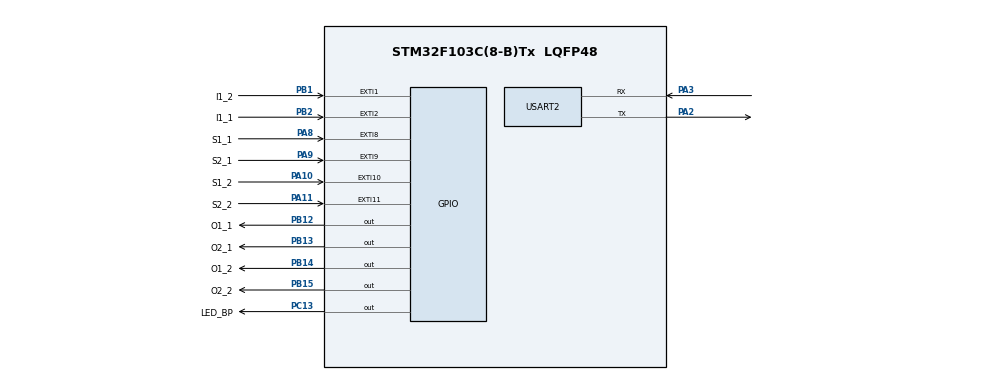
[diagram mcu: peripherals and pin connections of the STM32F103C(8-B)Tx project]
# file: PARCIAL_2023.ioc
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FREERTOS.Tasks01=defaultTask,24,128,StartDefaultTask,Default,NULL,Dynamic,NULL,NULL
FREERTOS.configTOTAL_HEAP_SIZE=8000
FREERTOS.configUSE_NEWLIB_REENTRANT=1
FREERTOS.configUSE_TICKLESS_IDLE=1
Mcu.Family=STM32F1
Mcu.Name=STM32F103C(8-B)Tx
Mcu.Package=LQFP48
NVIC.PriorityGroup=NVIC_PRIORITYGROUP_4
NVIC.TIM1_UP_IRQn=true\:15\:0\:false\:false\:true\:false\:false\:true\:true
NVIC.TimeBase=TIM1_UP_IRQn
NVIC.TimeBaseIP=TIM1
NVIC.USART2_IRQn=true\:5\:0\:false\:false\:true\:true\:true\:true\:true
PA10.GPIO_Label=S1_2
PA10.Signal=GPXTI10
PA11.GPIO_Label=S2_2
PA11.Signal=GPXTI11
PA13.Mode=Serial_Wire
PA13.Signal=SYS_JTMS-SWDIO
PA14.Mode=Serial_Wire
PA14.Signal=SYS_JTCK-SWCLK
PA2.Mode=Asynchronous
PA2.Signal=USART2_TX
PA3.Mode=Asynchronous
PA3.Signal=USART2_RX
PA8.GPIO_Label=S1_1
PA8.Signal=GPXTI8
PA9.GPIO_Label=S2_1
PA9.Signal=GPXTI9
PB1.GPIO_Label=I1_2
PB1.Signal=GPXTI1
PB12.GPIO_Label=O1_1
PB12.Signal=GPIO_Output
PB13.GPIO_Label=O2_1
PB13.Signal=GPIO_Output
PB14.GPIO_Label=O1_2
PB14.Signal=GPIO_Output
PB15.GPIO_Label=O2_2
PB15.Signal=GPIO_Output
PB2.GPIO_Label=I1_1
PB2.Signal=GPXTI2
PC13-TAMPER-RTC.GPIO_Label=LED_BP
PC13-TAMPER-RTC.Signal=GPIO_Output
PC14-OSC32_IN.Mode=LSE-External-Oscillator
PC14-OSC32_IN.Signal=RCC_OSC32_IN
PC15-OSC32_OUT.Mode=LSE-External-Oscillator
PC15-OSC32_OUT.Signal=RCC_OSC32_OUT
PD0-OSC_IN.Mode=HSE-External-Oscillator
PD0-OSC_IN.Signal=RCC_OSC_IN
PD1-OSC_OUT.Mode=HSE-External-Oscillator
PD1-OSC_OUT.Signal=RCC_OSC_OUT
ProjectManager.HeapSize=0x200
ProjectManager.StackSize=0x400
ProjectManager.TargetToolchain=STM32CubeIDE
RCC.APB1Freq_Value=8000000
RCC.APB2Freq_Value=8000000
USART2.VirtualMode=VM_ASYNC
VP_FREERTOS_VS_CMSIS_V2.Mode=CMSIS_V2
VP_SYS_VS_tim1.Mode=TIM1
board=custom

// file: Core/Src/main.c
/* USER CODE BEGIN Header */
/**
  ******************************************************************************
  * @file           : main.c
  * @brief          : Main program body
  ******************************************************************************
  * @attention
  *
  * Copyright (c) 2025 STMicroelectronics.
  * All rights reserved.
  *
  * This software is licensed under terms that can be found in the LICENSE file
  * in the root directory of this software component.
  * If no LICENSE file comes with this software, it is provided AS-IS.
  *
  ******************************************************************************
  */
/* USER CODE END Header */
#include "main.h"
#include "cmsis_os.h"

/* USER CODE BEGIN Includes */
#include "FreeRTOS.h"
#include "task.h"
#include "semphr.h"
#include "queue.h"
/* USER CODE END Includes */

/* USER CODE BEGIN PTD */

typedef struct{
	uint8_t id;
	uint32_t Y;
	GPIO_TypeDef *S1_port;
	GPIO_TypeDef *S2_port;
	GPIO_TypeDef *O1_port;
	GPIO_TypeDef *O2_port;
	GPIO_TypeDef *Pul_port;
	uint16_t S1_pin;
	uint16_t S2_pin;
	uint16_t O1_pin;
	uint16_t O2_pin;
	uint16_t Pul_pin;
	xSemaphoreHandle semaf1;
	xSemaphoreHandle semaf2;
	xSemaphoreHandle semaf_pul;
} TASK_DATA_T;

/* USER CODE END PTD */

/* USER CODE BEGIN PD */
#define QUEUE_LEN (5)
/* USER CODE END PD */

UART_HandleTypeDef huart2;

/* Definitions for defaultTask */
osThreadId_t defaultTaskHandle;
const osThreadAttr_t defaultTask_attributes = {
  .name = "defaultTask",
  .stack_size = 128 * 4,
  .priority = (osPriority_t) osPriorityNormal,
};
/* USER CODE BEGIN PV */
static uint8_t dato_cola;
static QueueHandle_t queue_uart;
static TASK_DATA_T tanque1, tanque2;
/* USER CODE END PV */

void SystemClock_Config(void);
static void MX_GPIO_Init(void);
static void MX_USART2_UART_Init(void);
void StartDefaultTask(void *argument);

/* USER CODE BEGIN PFP */

static void initTaskData (void)
{
		tanque1.id = 0;
		tanque1.Y = 10000;
		tanque1.S1_port= S1_1_GPIO_Port;
		tanque1.S2_port= S2_1_GPIO_Port;
		tanque1.O1_port= O1_1_GPIO_Port;
		tanque1.O2_port= O2_1_GPIO_Port;
		tanque1.Pul_port= I1_1_GPIO_Port;
		tanque1.S1_pin= S1_1_Pin;
		tanque1.S2_pin= S2_1_Pin;
		tanque1.O1_pin= O1_1_Pin;
		tanque1.O2_pin= O2_1_Pin;
		tanque1.Pul_pin= I1_1_Pin;
		tanque1.semaf1= xSemaphoreCreateBinary();
		tanque1.semaf2= xSemaphoreCreateBinary();
		tanque1.semaf_pul= xSemaphoreCreateBinary();

		tanque2.id = 1;
		tanque2.Y = 10000;
		tanque2.S1_port= S1_2_GPIO_Port;
		tanque2.S2_port= S2_2_GPIO_Port;
		tanque2.O1_port= O1_2_GPIO_Port;
		tanque2.O2_port= O2_2_GPIO_Port;
		tanque2.Pul_port= I1_2_GPIO_Port;
		tanque2.S1_pin= S1_2_Pin;
		tanque2.S2_pin= S2_2_Pin;
		tanque2.O1_pin= O1_2_Pin;
		tanque2.O2_pin= O2_2_Pin;
		tanque2.Pul_pin= I1_2_Pin;
		tanque2.semaf1= xSemaphoreCreateBinary();
		tanque2.semaf2= xSemaphoreCreateBinary();
		tanque2.semaf_pul= xSemaphoreCreateBinary();

		HAL_GPIO_WritePin(O1_1_GPIO_Port, O1_1_Pin, GPIO_PIN_RESET);
		HAL_GPIO_WritePin(O2_1_GPIO_Port, O2_1_Pin, GPIO_PIN_RESET);
		HAL_GPIO_WritePin(O1_2_GPIO_Port, O1_2_Pin, GPIO_PIN_RESET);
		HAL_GPIO_WritePin(O2_2_GPIO_Port, O2_2_Pin, GPIO_PIN_RESET);
}

void task_tanque (void *a)
{
	TASK_DATA_T *parametros;
	parametros = (TASK_DATA_T*) a;

	uint8_t item;

	xSemaphoreTake(parametros->semaf2,portMAX_DELAY);

		HAL_GPIO_WritePin(parametros->O2_port, parametros->O2_pin, GPIO_PIN_RESET);
		HAL_GPIO_WritePin(parametros->O1_port, parametros->O1_pin, GPIO_PIN_SET);

		if(xSemaphoreTake(parametros->semaf1,parametros->Y) == pdTRUE)
		{
			HAL_GPIO_WritePin(parametros->O1_port, parametros->O1_pin, GPIO_PIN_RESET);
			HAL_GPIO_WritePin(parametros->O2_port, parametros->O2_pin, GPIO_PIN_SET);
		}
		else {

			item = parametros->id;

			xQueueSend(queue_uart, &item, 0);
			HAL_GPIO_WritePin(parametros->O2_port, parametros->O2_pin, GPIO_PIN_RESET);
			HAL_GPIO_WritePin(parametros->O1_port, parametros->O1_pin, GPIO_PIN_RESET);

			xSemaphoreTake(parametros->semaf_pul,portMAX_DELAY);
		}
}

void Task_uart (void *a)
{
		uint8_t item;
		uint8_t buff[20];

		while(1){
			xQueueReceive(queue_uart, &item, portMAX_DELAY);
			snprintf((char*)buff,20,"ALARMA: %d\r\n",(int)item);
			HAL_UART_Transmit(&huart2, buff, (uint16_t)strlen((char *)buff), 100);
		}
}

/* USER CODE END PFP */

int main(void)
{

  /* MCU Configuration--------------------------------------------------------*/

  /* Reset of all peripherals, Initializes the Flash interface and the Systick. */
  HAL_Init();

  /* Configure the system clock */
  SystemClock_Config();

  /* Initialize all configured peripherals */
  MX_GPIO_Init();
  MX_USART2_UART_Init();

  /* Init scheduler */
  osKernelInitialize();

  /* USER CODE BEGIN RTOS_TIMERS */
  /* start timers, add new ones, ... */
  	xTaskCreate(task_tanque, (const char *)"taskTanque1", configMINIMAL_STACK_SIZE, &tanque1, osPriorityNormal, 0);
  	xTaskCreate(task_tanque, (const char *)"taskTanque2", configMINIMAL_STACK_SIZE, &tanque2, osPriorityNormal, 0);
  	xTaskCreate(Task_uart, (const char *)"task_uart", configMINIMAL_STACK_SIZE, NULL, osPriorityNormal, 0);

  /* USER CODE END RTOS_TIMERS */

  /* Create the thread(s) */
  /* creation of defaultTask */
  defaultTaskHandle = osThreadNew(StartDefaultTask, NULL, &defaultTask_attributes);

  /* Start scheduler */
  osKernelStart();

  /* We should never get here as control is now taken by the scheduler */

  /* Infinite loop */
  while (1)
  {

  }
}

void SystemClock_Config(void)
{
  RCC_OscInitTypeDef RCC_OscInitStruct = {0};
  RCC_ClkInitTypeDef RCC_ClkInitStruct = {0};

  /** Initializes the RCC Oscillators according to the specified parameters
  * in the RCC_OscInitTypeDef structure.
  */
  RCC_OscInitStruct.OscillatorType = RCC_OSCILLATORTYPE_HSI;
  RCC_OscInitStruct.HSIState = RCC_HSI_ON;
  RCC_OscInitStruct.HSICalibrationValue = RCC_HSICALIBRATION_DEFAULT;
  RCC_OscInitStruct.PLL.PLLState = RCC_PLL_NONE;
  if (HAL_RCC_OscConfig(&RCC_OscInitStruct) != HAL_OK)
  {
    Error_Handler();
  }

  /** Initializes the CPU, AHB and APB buses clocks
  */
  RCC_ClkInitStruct.ClockType = RCC_CLOCKTYPE_HCLK|RCC_CLOCKTYPE_SYSCLK
                              |RCC_CLOCKTYPE_PCLK1|RCC_CLOCKTYPE_PCLK2;
  RCC_ClkInitStruct.SYSCLKSource = RCC_SYSCLKSOURCE_HSI;
  RCC_ClkInitStruct.AHBCLKDivider = RCC_SYSCLK_DIV1;
  RCC_ClkInitStruct.APB1CLKDivider = RCC_HCLK_DIV1;
  RCC_ClkInitStruct.APB2CLKDivider = RCC_HCLK_DIV1;

  if (HAL_RCC_ClockConfig(&RCC_ClkInitStruct, FLASH_LATENCY_0) != HAL_OK)
  {
    Error_Handler();
  }
}

static void MX_USART2_UART_Init(void)
{

  huart2.Instance = USART2;
  huart2.Init.BaudRate = 115200;
  huart2.Init.WordLength = UART_WORDLENGTH_8B;
  huart2.Init.StopBits = UART_STOPBITS_1;
  huart2.Init.Parity = UART_PARITY_NONE;
  huart2.Init.Mode = UART_MODE_TX_RX;
  huart2.Init.HwFlowCtl = UART_HWCONTROL_NONE;
  huart2.Init.OverSampling = UART_OVERSAMPLING_16;
  if (HAL_UART_Init(&huart2) != HAL_OK)
  {
    Error_Handler();
  }

}

static void MX_GPIO_Init(void)
{
  GPIO_InitTypeDef GPIO_InitStruct = {0};

  /* GPIO Ports Clock Enable */
  __HAL_RCC_GPIOC_CLK_ENABLE();
  __HAL_RCC_GPIOD_CLK_ENABLE();
  __HAL_RCC_GPIOA_CLK_ENABLE();
  __HAL_RCC_GPIOB_CLK_ENABLE();

  /*Configure GPIO pin Output Level */
  HAL_GPIO_WritePin(LED_BP_GPIO_Port, LED_BP_Pin, GPIO_PIN_RESET);

  /*Configure GPIO pin Output Level */
  HAL_GPIO_WritePin(GPIOB, O1_1_Pin|O2_1_Pin|O1_2_Pin|O2_2_Pin, GPIO_PIN_RESET);

  /*Configure GPIO pin : LED_BP_Pin */
  GPIO_InitStruct.Pin = LED_BP_Pin;
  GPIO_InitStruct.Mode = GPIO_MODE_OUTPUT_PP;
  GPIO_InitStruct.Pull = GPIO_NOPULL;
  GPIO_InitStruct.Speed = GPIO_SPEED_FREQ_LOW;
  HAL_GPIO_Init(LED_BP_GPIO_Port, &GPIO_InitStruct);

  /*Configure GPIO pins : I1_2_Pin I1_1_Pin */
  GPIO_InitStruct.Pin = I1_2_Pin|I1_1_Pin;
  GPIO_InitStruct.Mode = GPIO_MODE_IT_RISING;
  GPIO_InitStruct.Pull = GPIO_NOPULL;
  HAL_GPIO_Init(GPIOB, &GPIO_InitStruct);

  /*Configure GPIO pins : O1_1_Pin O2_1_Pin O1_2_Pin O2_2_Pin */
  GPIO_InitStruct.Pin = O1_1_Pin|O2_1_Pin|O1_2_Pin|O2_2_Pin;
  GPIO_InitStruct.Mode = GPIO_MODE_OUTPUT_PP;
  GPIO_InitStruct.Pull = GPIO_NOPULL;
  GPIO_InitStruct.Speed = GPIO_SPEED_FREQ_LOW;
  HAL_GPIO_Init(GPIOB, &GPIO_InitStruct);

  /*Configure GPIO pins : S1_1_Pin S2_1_Pin S1_2_Pin S2_2_Pin */
  GPIO_InitStruct.Pin = S1_1_Pin|S2_1_Pin|S1_2_Pin|S2_2_Pin;
  GPIO_InitStruct.Mode = GPIO_MODE_IT_RISING;
  GPIO_InitStruct.Pull = GPIO_NOPULL;
  HAL_GPIO_Init(GPIOA, &GPIO_InitStruct);

}

void StartDefaultTask(void *argument)
{
  for(;;)
  {
    osDelay(1);
  }
}

void HAL_TIM_PeriodElapsedCallback(TIM_HandleTypeDef *htim)
{
  if (htim->Instance == TIM1)
  {
    HAL_IncTick();
  }
}

void Error_Handler(void)
{
  __disable_irq();
  while (1)
  {
  }
}

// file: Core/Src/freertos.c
/* USER CODE BEGIN Header */
/**
  ******************************************************************************
  * File Name          : freertos.c
  * Description        : Code for freertos applications
  ******************************************************************************
  * @attention
  *
  * Copyright (c) 2025 STMicroelectronics.
  * All rights reserved.
  *
  * This software is licensed under terms that can be found in the LICENSE file
  * in the root directory of this software component.
  * If no LICENSE file comes with this software, it is provided AS-IS.
  *
  ******************************************************************************
  */
/* USER CODE END Header */

#include "FreeRTOS.h"
#include "task.h"
#include "main.h"

/* USER CODE BEGIN PREPOSTSLEEP */
__weak void PreSleepProcessing(uint32_t *ulExpectedIdleTime)
{
/* place for user code */
}

__weak void PostSleepProcessing(uint32_t *ulExpectedIdleTime)
{
/* place for user code */
}
/* USER CODE END PREPOSTSLEEP */
